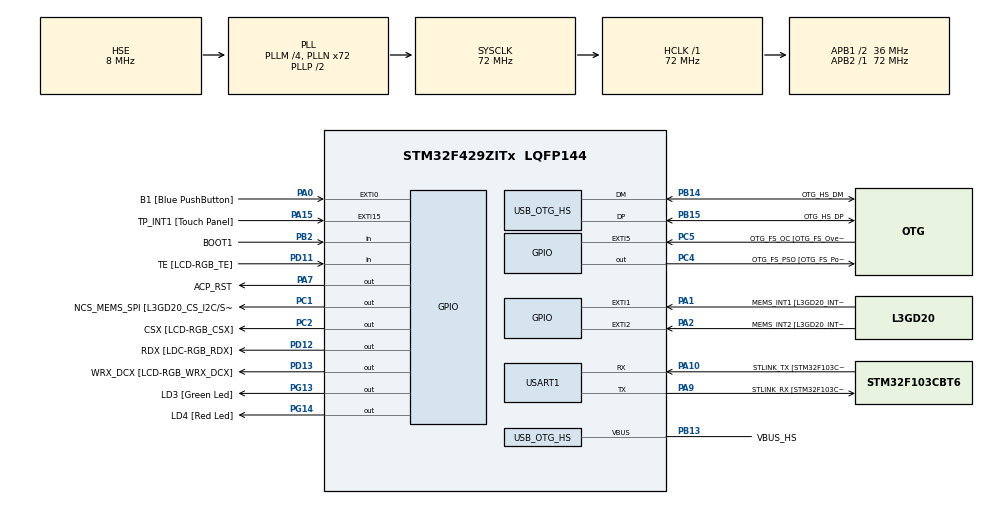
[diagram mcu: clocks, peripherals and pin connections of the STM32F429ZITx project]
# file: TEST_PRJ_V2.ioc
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Mcu.Family=STM32F4
Mcu.Name=STM32F429ZITx
Mcu.Package=LQFP144
NVIC.OTG_HS_IRQn=true\:0\:0\:false\:false\:true\:true\:true\:true
NVIC.PriorityGroup=NVIC_PRIORITYGROUP_4
NVIC.TIM6_DAC_IRQn=true\:15\:0\:false\:false\:true\:false\:true\:true
NVIC.TimeBase=TIM6_DAC_IRQn
NVIC.TimeBaseIP=TIM6
PA0/WKUP.GPIO_Label=B1 [Blue PushButton]
PA0/WKUP.GPIO_ModeDefaultEXTI=GPIO_MODE_EVT_RISING
PA0/WKUP.GPIO_PuPd=GPIO_NOPULL
PA0/WKUP.Signal=GPXTI0
PA1.GPIO_Label=MEMS_INT1 [L3GD20_INT1]
PA1.GPIO_ModeDefaultEXTI=GPIO_MODE_EVT_RISING
PA1.GPIO_PuPd=GPIO_NOPULL
PA1.Signal=GPXTI1
PA10.GPIO_Label=STLINK_TX [STM32F103CBT6_PA2]
PA10.Mode=Asynchronous
PA10.Signal=USART1_RX
PA13.GPIO_Label=SWDIO
PA13.Mode=Serial_Wire
PA13.Signal=SYS_JTMS-SWDIO
PA14.GPIO_Label=SWCLK
PA14.Mode=Serial_Wire
PA14.Signal=SYS_JTCK-SWCLK
PA15.GPIO_Label=TP_INT1 [Touch Panel]
PA15.GPIO_ModeDefaultEXTI=GPIO_MODE_EVT_RISING
PA15.GPIO_PuPd=GPIO_NOPULL
PA15.Signal=GPXTI15
PA2.GPIO_Label=MEMS_INT2 [L3GD20_INT2]
PA2.GPIO_ModeDefaultEXTI=GPIO_MODE_EVT_RISING
PA2.GPIO_PuPd=GPIO_NOPULL
PA2.Signal=GPXTI2
PA7.GPIO_Label=ACP_RST
PA7.GPIO_Mode=GPIO_MODE_OUTPUT_PP
PA7.GPIO_PuPd=GPIO_NOPULL
PA7.GPIO_Speed=GPIO_SPEED_FREQ_LOW
PA7.Signal=GPIO_Output
PA9.GPIO_Label=STLINK_RX [STM32F103CBT6_PA3]
PA9.Mode=Asynchronous
PA9.Signal=USART1_TX
PB12.GPIO_Label=OTG_HS_ID
PB12.GPIO_Mode=GPIO_MODE_AF_PP
PB12.GPIO_PuPd=GPIO_NOPULL
PB12.GPIO_Speed=GPIO_SPEED_FREQ_LOW
PB12.Signal=USB_OTG_HS_ID
PB13.GPIO_Label=VBUS_HS
PB13.GPIO_Mode=GPIO_MODE_INPUT
PB13.GPIO_PuPd=GPIO_NOPULL
PB13.Mode=Activate_VBUS_FS
PB13.Signal=USB_OTG_HS_VBUS
PB14.GPIO_Label=OTG_HS_DM
PB14.GPIO_Mode=GPIO_MODE_AF_PP
PB14.GPIO_PuPd=GPIO_NOPULL
PB14.GPIO_Speed=GPIO_SPEED_FREQ_LOW
PB14.Mode=Device_Only_FS
PB14.Signal=USB_OTG_HS_DM
PB15.GPIO_Label=OTG_HS_DP
PB15.GPIO_Mode=GPIO_MODE_AF_PP
PB15.GPIO_PuPd=GPIO_NOPULL
PB15.GPIO_Speed=GPIO_SPEED_FREQ_LOW
PB15.Mode=Device_Only_FS
PB15.Signal=USB_OTG_HS_DP
PB2/BOOT1.GPIO_Label=BOOT1
PB2/BOOT1.GPIO_Mode=GPIO_MODE_INPUT
PB2/BOOT1.GPIO_PuPd=GPIO_NOPULL
PB2/BOOT1.Signal=GPIO_Input
PC1.GPIO_Label=NCS_MEMS_SPI [L3GD20_CS_I2C/SPI]
PC1.GPIO_Mode=GPIO_MODE_OUTPUT_PP
PC1.GPIO_PuPd=GPIO_NOPULL
PC1.GPIO_Speed=GPIO_SPEED_FREQ_LOW
PC1.Signal=GPIO_Output
PC2.GPIO_Label=CSX [LCD-RGB_CSX]
PC2.GPIO_Mode=GPIO_MODE_OUTPUT_PP
PC2.GPIO_PuPd=GPIO_NOPULL
PC2.GPIO_Speed=GPIO_SPEED_FREQ_LOW
PC2.Signal=GPIO_Output
PC4.GPIO_Label=OTG_FS_PSO [OTG_FS_PowerSwitchOn]
PC4.GPIO_Mode=GPIO_MODE_OUTPUT_PP
PC4.GPIO_PuPd=GPIO_NOPULL
PC4.GPIO_Speed=GPIO_SPEED_FREQ_LOW
PC4.Signal=GPIO_Output
PC5.GPIO_Label=OTG_FS_OC [OTG_FS_OverCurrent]
PC5.GPIO_ModeDefaultEXTI=GPIO_MODE_EVT_RISING
PC5.Signal=GPXTI5
PD11.GPIO_Label=TE [LCD-RGB_TE]
PD11.GPIO_Mode=GPIO_MODE_INPUT
PD11.GPIO_PuPd=GPIO_NOPULL
PD11.Signal=GPIO_Input
PD12.GPIO_Label=RDX [LDC-RGB_RDX]
PD12.GPIO_Mode=GPIO_MODE_OUTPUT_PP
PD12.GPIO_PuPd=GPIO_NOPULL
PD12.GPIO_Speed=GPIO_SPEED_FREQ_LOW
PD12.Signal=GPIO_Output
PD13.GPIO_Label=WRX_DCX [LCD-RGB_WRX_DCX]
PD13.GPIO_Mode=GPIO_MODE_OUTPUT_PP
PD13.GPIO_PuPd=GPIO_NOPULL
PD13.GPIO_Speed=GPIO_SPEED_FREQ_LOW
PD13.Signal=GPIO_Output
PG13.GPIO_Label=LD3 [Green Led]
PG13.GPIO_Mode=GPIO_MODE_OUTPUT_PP
PG13.GPIO_PuPd=GPIO_NOPULL
PG13.GPIO_Speed=GPIO_SPEED_FREQ_LOW
PG13.Signal=GPIO_Output
PG14.GPIO_Label=LD4 [Red Led]
PG14.GPIO_Mode=GPIO_MODE_OUTPUT_PP
PG14.GPIO_PuPd=GPIO_NOPULL
PG14.GPIO_Speed=GPIO_SPEED_FREQ_LOW
PG14.Signal=GPIO_Output
PH0/OSC_IN.GPIO_Label=PH0-OSC_IN
PH0/OSC_IN.Mode=HSE-External-Oscillator
PH0/OSC_IN.Signal=RCC_OSC_IN
PH1/OSC_OUT.GPIO_Label=PH1-OSC_OUT
PH1/OSC_OUT.Mode=HSE-External-Oscillator
PH1/OSC_OUT.Signal=RCC_OSC_OUT
ProjectManager.HeapSize=0x200
ProjectManager.StackSize=0x400
ProjectManager.TargetToolchain=Makefile
RCC.48MHZClocksFreq_Value=48000000
RCC.AHBFreq_Value=72000000
RCC.APB1CLKDivider=RCC_HCLK_DIV2
RCC.APB1Freq_Value=36000000
RCC.APB1TimFreq_Value=72000000
RCC.APB2Freq_Value=72000000
RCC.APB2TimFreq_Value=72000000
RCC.CortexFreq_Value=72000000
RCC.HCLKFreq_Value=72000000
RCC.HSE_VALUE=8000000
RCC.HSI_VALUE=16000000
RCC.LSE_VALUE=32768
RCC.PLLM=4
RCC.PLLN=72
RCC.PLLQ=3
RCC.PLLSAIN=50
RCC.SYSCLKFreq_VALUE=72000000
RCC.SYSCLKSource=RCC_SYSCLKSOURCE_PLLCLK
RCC.VCOOutputFreq_Value=144000000
USART1.VirtualMode=VM_ASYNC
USB_DEVICE.CLASS_NAME_HS=CDC
USB_DEVICE.VirtualMode-CDC_HS=Cdc
USB_DEVICE.VirtualModeHS=Cdc_HS
USB_OTG_HS.VirtualMode-Device_Only_FS=Device_Only_FS
VP_SYS_VS_tim6.Mode=TIM6
VP_USB_DEVICE_VS_USB_DEVICE_CDC_HS.Mode=CDC_HS
board=STM32F429I-DISC1

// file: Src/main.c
/* USER CODE BEGIN Header */
/**
  ******************************************************************************
  * @file           : main.c
  * @brief          : Main program body
  ******************************************************************************
  * @attention
  *
  * Copyright (c) 2025 STMicroelectronics.
  * All rights reserved.
  *
  * This software is licensed under terms that can be found in the LICENSE file
  * in the root directory of this software component.
  * If no LICENSE file comes with this software, it is provided AS-IS.
  *
  ******************************************************************************
  */
/* USER CODE END Header */
#include "main.h"
#include "usb_device.h"

/* USER CODE BEGIN Includes */
#include "FreeRTOS.h"
#include "task.h"
#include "semphr.h"
#include "queue.h"
#include "timers.h"
/* USER CODE END Includes */

UART_HandleTypeDef huart1;

/* USER CODE BEGIN PV */
TaskHandle_t xTask1;
TaskHandle_t xTask2;
TimerHandle_t xTimer1 = NULL;
TimerHandle_t xTimer2 = NULL;
/* USER CODE END PV */

void SystemClock_Config(void);
static void MX_GPIO_Init(void);
static void MX_USART1_UART_Init(void);
/* USER CODE BEGIN PFP */
void vTask1Function(void *pvParameters);
void vTask2Function(void *pvParameters);
void vTimer1Callback(TimerHandle_t xTimer);
void vTimer2Callback(TimerHandle_t xTimer);
void vApplicationIdleHook(void);
/* USER CODE END PFP */

int main(void)
{

  /* MCU Configuration--------------------------------------------------------*/

  /* Reset of all peripherals, Initializes the Flash interface and the Systick. */
  HAL_Init();

  /* USER CODE BEGIN Init */
  BaseType_t status;
  /* USER CODE END Init */

  /* Configure the system clock */
  SystemClock_Config();

  /* Initialize all configured peripherals */
  MX_GPIO_Init();
  MX_USART1_UART_Init();
  MX_USB_DEVICE_Init();
  /* USER CODE BEGIN 2 */
  status = xTaskCreate(vTask1Function, "Task1", 200, NULL, 2, &xTask1);
  configASSERT(status == pdPASS);
  status = xTaskCreate(vTask2Function, "Task2", 200, NULL, 2, &xTask2);
  configASSERT(status == pdPASS);
  xTimer1 = xTimerCreate("Timer1", pdMS_TO_TICKS(500), pdTRUE, (void *) 0, vTimer1Callback);
  configASSERT(xTimer1 != NULL);
  xTimer2 = xTimerCreate("Timer2", pdMS_TO_TICKS(1000), pdTRUE, (void *) 0, vTimer2Callback);
  configASSERT(xTimer2 != NULL);
  vTaskStartScheduler();
  xTimerStart(xTimer1, 0);
  xTimerStart(xTimer2, 0);
  uint8_t message[] = "FreeRTOS started\r\n";
  /* USER CODE END 2 */

  /* Infinite loop */
  while (1)
  {

  }
}

void SystemClock_Config(void)
{
  RCC_OscInitTypeDef RCC_OscInitStruct = {0};
  RCC_ClkInitTypeDef RCC_ClkInitStruct = {0};

  /** Configure the main internal regulator output voltage
  */
  __HAL_RCC_PWR_CLK_ENABLE();
  __HAL_PWR_VOLTAGESCALING_CONFIG(PWR_REGULATOR_VOLTAGE_SCALE3);

  /** Initializes the RCC Oscillators according to the specified parameters
  * in the RCC_OscInitTypeDef structure.
  */
  RCC_OscInitStruct.OscillatorType = RCC_OSCILLATORTYPE_HSE;
  RCC_OscInitStruct.HSEState = RCC_HSE_ON;
  RCC_OscInitStruct.PLL.PLLState = RCC_PLL_ON;
  RCC_OscInitStruct.PLL.PLLSource = RCC_PLLSOURCE_HSE;
  RCC_OscInitStruct.PLL.PLLM = 4;
  RCC_OscInitStruct.PLL.PLLN = 72;
  RCC_OscInitStruct.PLL.PLLP = RCC_PLLP_DIV2;
  RCC_OscInitStruct.PLL.PLLQ = 3;
  if (HAL_RCC_OscConfig(&RCC_OscInitStruct) != HAL_OK)
  {
    Error_Handler();
  }

  /** Initializes the CPU, AHB and APB buses clocks
  */
  RCC_ClkInitStruct.ClockType = RCC_CLOCKTYPE_HCLK|RCC_CLOCKTYPE_SYSCLK
                              |RCC_CLOCKTYPE_PCLK1|RCC_CLOCKTYPE_PCLK2;
  RCC_ClkInitStruct.SYSCLKSource = RCC_SYSCLKSOURCE_PLLCLK;
  RCC_ClkInitStruct.AHBCLKDivider = RCC_SYSCLK_DIV1;
  RCC_ClkInitStruct.APB1CLKDivider = RCC_HCLK_DIV2;
  RCC_ClkInitStruct.APB2CLKDivider = RCC_HCLK_DIV1;

  if (HAL_RCC_ClockConfig(&RCC_ClkInitStruct, FLASH_LATENCY_2) != HAL_OK)
  {
    Error_Handler();
  }
}

static void MX_USART1_UART_Init(void)
{

  huart1.Instance = USART1;
  huart1.Init.BaudRate = 115200;
  huart1.Init.WordLength = UART_WORDLENGTH_8B;
  huart1.Init.StopBits = UART_STOPBITS_1;
  huart1.Init.Parity = UART_PARITY_NONE;
  huart1.Init.Mode = UART_MODE_TX_RX;
  huart1.Init.HwFlowCtl = UART_HWCONTROL_NONE;
  huart1.Init.OverSampling = UART_OVERSAMPLING_16;
  if (HAL_UART_Init(&huart1) != HAL_OK)
  {
    Error_Handler();
  }

}

static void MX_GPIO_Init(void)
{
  GPIO_InitTypeDef GPIO_InitStruct = {0};

  /* GPIO Ports Clock Enable */
  __HAL_RCC_GPIOH_CLK_ENABLE();
  __HAL_RCC_GPIOC_CLK_ENABLE();
  __HAL_RCC_GPIOA_CLK_ENABLE();
  __HAL_RCC_GPIOB_CLK_ENABLE();
  __HAL_RCC_GPIOD_CLK_ENABLE();
  __HAL_RCC_GPIOG_CLK_ENABLE();

  /*Configure GPIO pin Output Level */
  HAL_GPIO_WritePin(GPIOC, NCS_MEMS_SPI_Pin|CSX_Pin|OTG_FS_PSO_Pin, GPIO_PIN_RESET);

  /*Configure GPIO pin Output Level */
  HAL_GPIO_WritePin(ACP_RST_GPIO_Port, ACP_RST_Pin, GPIO_PIN_RESET);

  /*Configure GPIO pin Output Level */
  HAL_GPIO_WritePin(GPIOD, RDX_Pin|WRX_DCX_Pin, GPIO_PIN_RESET);

  /*Configure GPIO pin Output Level */
  HAL_GPIO_WritePin(GPIOG, LD3_Pin|LD4_Pin, GPIO_PIN_RESET);

  /*Configure GPIO pins : NCS_MEMS_SPI_Pin CSX_Pin OTG_FS_PSO_Pin */
  GPIO_InitStruct.Pin = NCS_MEMS_SPI_Pin|CSX_Pin|OTG_FS_PSO_Pin;
  GPIO_InitStruct.Mode = GPIO_MODE_OUTPUT_PP;
  GPIO_InitStruct.Pull = GPIO_NOPULL;
  GPIO_InitStruct.Speed = GPIO_SPEED_FREQ_LOW;
  HAL_GPIO_Init(GPIOC, &GPIO_InitStruct);

  /*Configure GPIO pins : B1_Pin MEMS_INT1_Pin MEMS_INT2_Pin TP_INT1_Pin */
  GPIO_InitStruct.Pin = B1_Pin|MEMS_INT1_Pin|MEMS_INT2_Pin|TP_INT1_Pin;
  GPIO_InitStruct.Mode = GPIO_MODE_EVT_RISING;
  GPIO_InitStruct.Pull = GPIO_NOPULL;
  HAL_GPIO_Init(GPIOA, &GPIO_InitStruct);

  /*Configure GPIO pin : ACP_RST_Pin */
  GPIO_InitStruct.Pin = ACP_RST_Pin;
  GPIO_InitStruct.Mode = GPIO_MODE_OUTPUT_PP;
  GPIO_InitStruct.Pull = GPIO_NOPULL;
  GPIO_InitStruct.Speed = GPIO_SPEED_FREQ_LOW;
  HAL_GPIO_Init(ACP_RST_GPIO_Port, &GPIO_InitStruct);

  /*Configure GPIO pin : OTG_FS_OC_Pin */
  GPIO_InitStruct.Pin = OTG_FS_OC_Pin;
  GPIO_InitStruct.Mode = GPIO_MODE_EVT_RISING;
  GPIO_InitStruct.Pull = GPIO_NOPULL;
  HAL_GPIO_Init(OTG_FS_OC_GPIO_Port, &GPIO_InitStruct);

  /*Configure GPIO pin : BOOT1_Pin */
  GPIO_InitStruct.Pin = BOOT1_Pin;
  GPIO_InitStruct.Mode = GPIO_MODE_INPUT;
  GPIO_InitStruct.Pull = GPIO_NOPULL;
  HAL_GPIO_Init(BOOT1_GPIO_Port, &GPIO_InitStruct);

  /*Configure GPIO pin : TE_Pin */
  GPIO_InitStruct.Pin = TE_Pin;
  GPIO_InitStruct.Mode = GPIO_MODE_INPUT;
  GPIO_InitStruct.Pull = GPIO_NOPULL;
  HAL_GPIO_Init(TE_GPIO_Port, &GPIO_InitStruct);

  /*Configure GPIO pins : RDX_Pin WRX_DCX_Pin */
  GPIO_InitStruct.Pin = RDX_Pin|WRX_DCX_Pin;
  GPIO_InitStruct.Mode = GPIO_MODE_OUTPUT_PP;
  GPIO_InitStruct.Pull = GPIO_NOPULL;
  GPIO_InitStruct.Speed = GPIO_SPEED_FREQ_LOW;
  HAL_GPIO_Init(GPIOD, &GPIO_InitStruct);

  /*Configure GPIO pins : LD3_Pin LD4_Pin */
  GPIO_InitStruct.Pin = LD3_Pin|LD4_Pin;
  GPIO_InitStruct.Mode = GPIO_MODE_OUTPUT_PP;
  GPIO_InitStruct.Pull = GPIO_NOPULL;
  GPIO_InitStruct.Speed = GPIO_SPEED_FREQ_LOW;
  HAL_GPIO_Init(GPIOG, &GPIO_InitStruct);

}

/* USER CODE BEGIN 4 */
void vApplicationIdleHook( void )
{
  HAL_PWR_EnterSLEEPMode(PWR_MAINREGULATOR_ON, PWR_SLEEPENTRY_WFI);
}
void vTimer1Callback(TimerHandle_t xTimer) {
  xTaskNotify(xTask1, 0, eNoAction);
}
void vTimer2Callback(TimerHandle_t xTimer) {
  xTaskNotify(xTask2, 0, eNoAction);
}
void vTask1Function(void *pvParameters) {
  uint8_t message[] = "Task 1 is running\r\n";
  while (1) {
    xTaskNotifyWait(0, 0, NULL, portMAX_DELAY);
    HAL_GPIO_TogglePin(GPIOG, GPIO_PIN_13);
    HAL_UART_Transmit(&huart1, message, strlen(message), 100);

  }
}
void vTask2Function(void *pvParameters) {
  uint8_t message[] = "Task 2 is running\r\n";
  while (1) {
    xTaskNotifyWait(0, 0, NULL, portMAX_DELAY);
    HAL_GPIO_TogglePin(GPIOG, GPIO_PIN_14);
    HAL_UART_Transmit(&huart1, message, strlen(message), 100);
  }
}
/* USER CODE END 4 */

void HAL_TIM_PeriodElapsedCallback(TIM_HandleTypeDef *htim)
{
  if (htim->Instance == TIM6) {
    HAL_IncTick();
  }
}

void Error_Handler(void)
{
  __disable_irq();
  while (1)
  {
  }
}
